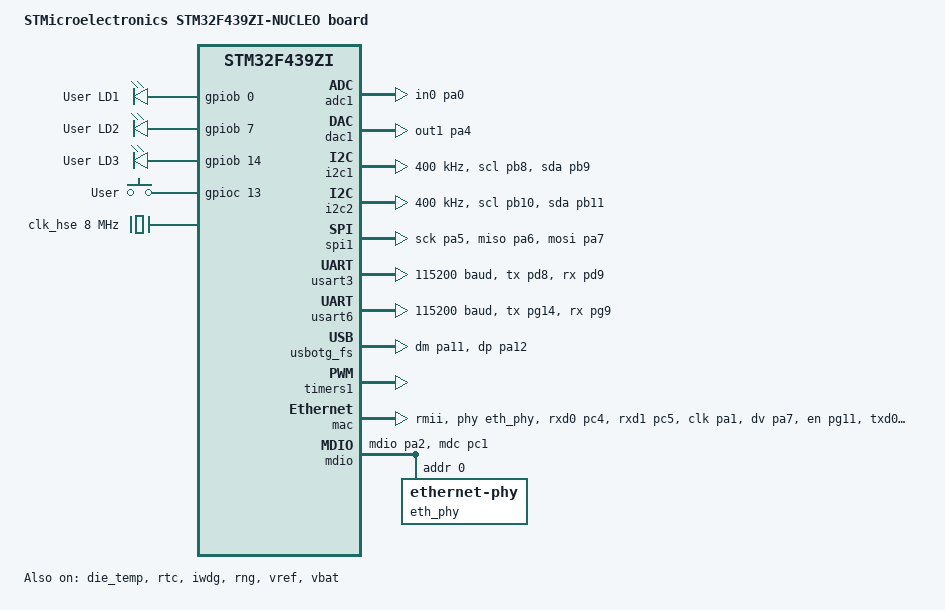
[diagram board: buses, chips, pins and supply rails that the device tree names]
/*
 * Copyright (c) 2025 Mathieu Anquetin <mathieu.anquetin@groupe-cahors.com>
 *
 * SPDX-License-Identifier: Apache-2.0
 */

/dts-v1/;
#include <st/f4/stm32f439Xi.dtsi>
#include <st/f4/stm32f439z(g-i)tx-pinctrl.dtsi>
#include "arduino_r3_connector.dtsi"
#include <zephyr/dt-bindings/input/input-event-codes.h>

/ {
	model = "STMicroelectronics STM32F439ZI-NUCLEO board";
	compatible = "st,stm32f439zi-nucleo";

	chosen {
		zephyr,console = &usart3;
		zephyr,shell-uart = &usart3;
		zephyr,sram = &sram0;
		zephyr,flash = &flash0;
		zephyr,ccm = &ccm0;
		zephyr,code-partition = &slot0_partition;
	};

	leds: leds {
		compatible = "gpio-leds";

		green_led_1: led_1 {
			gpios = <&gpiob 0 GPIO_ACTIVE_HIGH>;
			label = "User LD1";
		};

		blue_led_1: led_2 {
			gpios = <&gpiob 7 GPIO_ACTIVE_HIGH>;
			label = "User LD2";
		};

		red_led_1: led_3 {
			gpios = <&gpiob 14 GPIO_ACTIVE_HIGH>;
			label = "User LD3";
		};
	};

	gpio_keys {
		compatible = "gpio-keys";

		user_button: button {
			label = "User";
			gpios = <&gpioc 13 GPIO_ACTIVE_HIGH>;
			zephyr,code = <INPUT_KEY_0>;
		};
	};

	aliases {
		led0 = &green_led_1;
		led1 = &blue_led_1;
		led2 = &red_led_1;
		sw0 = &user_button;
		watchdog0 = &iwdg;
		die-temp0 = &die_temp;
		volt-sensor0 = &vref;
		volt-sensor1 = &vbat;
	};
};

&clk_lsi {
	status = "okay";
};

&clk_hse {
	hse-bypass;
	clock-frequency = <DT_FREQ_M(8)>; /* STLink 8MHz clock */
	status = "okay";
};

&pll {
	div-m = <8>;
	mul-n = <336>;
	div-p = <2>;
	div-q = <7>;
	clocks = <&clk_hse>;
	status = "okay";
};

&rcc {
	clocks = <&pll>;
	clock-frequency = <DT_FREQ_M(168)>; /* highest value to get a precise USB clock */
	ahb-prescaler = <1>;
	apb1-prescaler = <4>;
	apb2-prescaler = <2>;
};

&adc1 {
	pinctrl-0 = <&adc1_in0_pa0>;
	pinctrl-names = "default";
	st,adc-clock-source = "SYNC";
	st,adc-prescaler = <2>;
	status = "okay";
};

&die_temp {
	status = "okay";
};

&dac1 {
	status = "okay";
	pinctrl-0 = <&dac_out1_pa4>;
	pinctrl-names = "default";
};

&i2c1 {
	pinctrl-0 = <&i2c1_scl_pb8 &i2c1_sda_pb9>;
	pinctrl-names = "default";
	status = "okay";
	clock-frequency = <I2C_BITRATE_FAST>;
};

&i2c2 {
	pinctrl-0 = <&i2c2_scl_pb10 &i2c2_sda_pb11>;
	pinctrl-names = "default";
	status = "okay";
	clock-frequency = <I2C_BITRATE_FAST>;
};

&spi1 {
	pinctrl-0 = <&spi1_sck_pa5 &spi1_miso_pa6 &spi1_mosi_pa7>;
	pinctrl-names = "default";
	cs-gpios = <&gpiod 14 (GPIO_ACTIVE_LOW | GPIO_PULL_UP)>;
	status = "okay";
};

&usart3 {
	pinctrl-0 = <&usart3_tx_pd8 &usart3_rx_pd9>;
	pinctrl-names = "default";
	current-speed = <115200>;
	status = "okay";
};
&usart6 {
	pinctrl-0 = <&usart6_tx_pg14 &usart6_rx_pg9>;
	pinctrl-names = "default";
	current-speed = <115200>;
	status = "okay";
};

zephyr_udc0: &usbotg_fs {
	pinctrl-0 = <&usb_otg_fs_dm_pa11 &usb_otg_fs_dp_pa12>;
	pinctrl-names = "default";
	status = "okay";
};

&timers1 {
	st,prescaler = <10000>;
	status = "okay";

	pwm1: pwm {
		status = "okay";
		pinctrl-0 = <&tim1_ch3_pe13>;
		pinctrl-names = "default";
	};
};

&rtc {
	clocks = <&rcc STM32_CLOCK(APB1, 28)>,
		 <&rcc STM32_SRC_LSI RTC_SEL(2)>;
	status = "okay";
};

&iwdg {
	status = "okay";
};

&rng {
	status = "okay";
};

&dma2 {
	status = "okay";
};

&mac {
	status = "okay";
	pinctrl-0 = <&eth_rxd0_pc4
		     &eth_rxd1_pc5
		     &eth_ref_clk_pa1
		     &eth_crs_dv_pa7
		     &eth_tx_en_pg11
		     &eth_txd0_pg13
		     &eth_txd1_pb13>;
	pinctrl-names = "default";
	phy-connection-type = "rmii";
	phy-handle = <&eth_phy>;
};

&mdio {
	status = "okay";
	pinctrl-0 = <&eth_mdio_pa2 &eth_mdc_pc1>;
	pinctrl-names = "default";

	eth_phy: ethernet-phy@0 {
		compatible = "ethernet-phy";
		reg = <0x00>;
	};
};

&flash0 {
	partitions {
		compatible = "fixed-partitions";
		#address-cells = <1>;
		#size-cells = <1>;

		/* 32KB for bootloader */
		boot_partition: partition@0 {
			label = "mcuboot";
			reg = <0x00000000 DT_SIZE_K(32)>;
			read-only;
		};

		/*
		 * nvs subsystem requires 2 sectors with a max total of 32K
		 * On F4 series, the only option is to use the following
		 * partition, which is compatible with mcuboot usage.
		 * Keep it commented in order it is not used by CI.
		 *
		 * storage_partition: partition@8000 {
		 *	label = "storage";
		 *	reg = <0x0008000 DT_SIZE_K(32)>;
		 * };
		 */

		/* free sector: 64KB
		 *
		 * free0_partition: partition@10000 {
		 *	label = "free-0";
		 *	reg = <0x00010000 DT_SIZE_K(64)>;
		 * };
		 */

		/* application image slot: 896KB */
		slot0_partition: partition@20000 {
			label = "image-0";
			reg = <0x00020000 DT_SIZE_K(896)>;
		};

		/* free sectors: 4 * 16KB + 64KB
		 *
		 * free1_partition: partition@100000 {
		 *	label = "free-1";
		 *	reg = <0x00100000 DT_SIZE_K(128)>;
		 * };
		 */

		/* backup slot: 768KB */
		slot1_partition: partition@120000 {
			label = "image-1";
			reg = <0x00120000 DT_SIZE_K(768)>;
		};

		/* free sector: 128KB
		 *
		 * free2_partition: partition@1e0000 {
		 *	label = "free-2";
		 *	reg = <0x0001e0000 DT_SIZE_K(128)>;
		 * };
		 */
	};
};

&vref {
	status = "okay";
};

&vbat {
	status = "okay";
};
